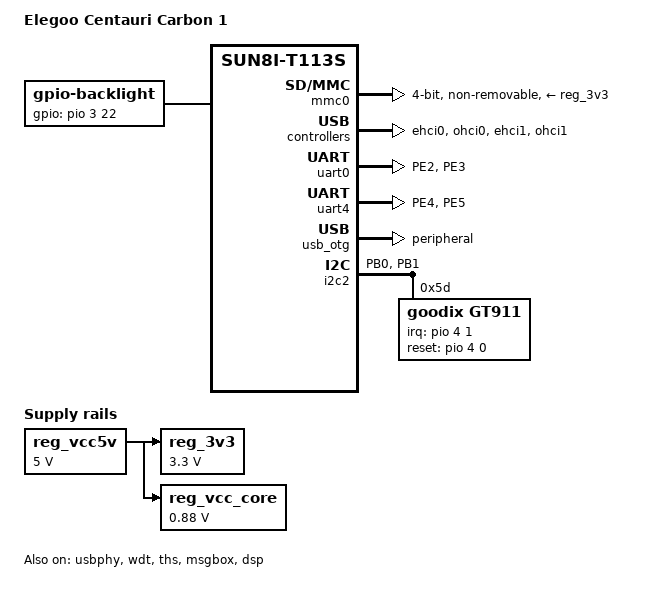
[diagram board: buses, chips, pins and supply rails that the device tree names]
// SPDX-License-Identifier: (GPL-2.0+ OR MIT)
// Copyright (C) 2026 James Turton.

/dts-v1/;

#include <dt-bindings/gpio/gpio.h>
#include <dt-bindings/interrupt-controller/irq.h>
#include "sun8i-t113s.dtsi"

/ {
	model = "Elegoo Centauri Carbon 1";
	compatible = "widora,mangopi-mq-r-t113", "allwinner,sun8i-t113s";

	aliases {
		serial0 = &uart0;
		serial4 = &uart4;
		i2c2 = &i2c2;
	};

	chosen {
		#address-cells = <1>;
		#size-cells = <1>;
		ranges;

		stdout-path = "serial0:115200n8";

		framebuffer-lcd0 {
			compatible = "allwinner,simple-framebuffer", "simple-framebuffer";
			allwinner,pipeline = "mixer0-lcd0";
			clocks = <&display_clocks CLK_BUS_MIXER0>,
					<&display_clocks CLK_MIXER0>,
					<&ccu CLK_BUS_TCON_LCD0>,
					<&ccu CLK_TCON_LCD0>;
			status = "disabled";
		};
	};

	thermal-zones {
		cpu-thermal {
			polling-delay-passive = <250>;
			polling-delay = <1000>;
			thermal-sensors = <&ths>;

			trips {
				cpu_alert: cpu-alert {
					temperature = <85000>;
					hysteresis = <2000>;
					type = "passive";
				};

				cpu_crit: cpu-crit {
					temperature = <100000>;
					hysteresis = <0>;
					type = "critical";
				};
			};
		};
	};

	/* board wide 5V supply directly from the USB-C socket */
	reg_vcc5v: regulator-5v {
		compatible = "regulator-fixed";
		regulator-name = "vcc-5v";
		regulator-min-microvolt = <5000000>;
		regulator-max-microvolt = <5000000>;
		regulator-always-on;
	};

	/* SY8008 DC/DC regulator on the board */
	reg_3v3: regulator-3v3 {
		compatible = "regulator-fixed";
		regulator-name = "vcc-3v3";
		regulator-min-microvolt = <3300000>;
		regulator-max-microvolt = <3300000>;
		vin-supply = <&reg_vcc5v>;
	};

	/* SY8008 DC/DC regulator on the board, also supplying VDD-SYS */
	reg_vcc_core: regulator-core {
		compatible = "regulator-fixed";
		regulator-name = "vcc-core";
		regulator-min-microvolt = <880000>;
		regulator-max-microvolt = <880000>;
		vin-supply = <&reg_vcc5v>;
	};

	backlight: backlight {
		compatible = "gpio-backlight";
		gpios = <&pio 3 22 GPIO_ACTIVE_HIGH>; /* PD22 */
		default-on;
	};

	reserved-memory {
		#address-cells = <1>;
		#size-cells = <1>;
		ranges;

		/*
		 * Reserve memory for the DSP firmware.
		 * Adjust base and size to match your firmware's linker script.
		 * This region must not overlap with Linux kernel memory.
		 *
		 * Common configurations:
		 *   - SRAM only (small firmware): use the DSP SRAM region
		 *   - DDR carveout (large firmware): reserve a DDR region
		 */
		dsp_reserved: dsp@42000000 {
			reg = <0x42000000 0x00100000>; /* 1 MiB example */
			no-map;
		};

		/*
		 * Shared memory for RPMsg virtio vrings and buffers.
		 * This must be accessible by both ARM and DSP.
		 */
		vdev0buffer: vdev0buffer@42100000 {
			compatible = "shared-dma-pool";
			reg = <0x42100000 0x40000>; /* 256 KiB */
			no-map;
		};

		vdev0vring0: vdev0vring0@42140000 {
			reg = <0x42140000 0x2000>; /* 8 KiB */
			no-map;
		};

		vdev0vring1: vdev0vring1@42142000 {
			reg = <0x42142000 0x2000>; /* 8 KiB */
			no-map;
		};
	};

	soc {
		ths: thermal-sensor@2009400 {
			compatible = "allwinner,sun20i-d1-ths";
			reg = <0x02009400 0x400>;
			interrupts = <SOC_PERIPHERAL_IRQ(58) IRQ_TYPE_LEVEL_HIGH>;
			clocks = <&ccu CLK_BUS_THS>;
			clock-names = "bus";
			resets = <&ccu RST_BUS_THS>;
			#thermal-sensor-cells = <0>;
			status = "okay";
		};

		msgbox: mailbox@3003000 {
			compatible = "allwinner,sunxi-r528-msgbox";
			reg = <0x03003000 0x1000>,  /* ARM CPUX_MSGBOX (local/RX) */
			      <0x01701000 0x1000>;  /* DSP_MSGBOX (remote/TX) */
			reg-names = "local", "remote";
			clocks = <&ccu CLK_BUS_MSGBOX0>;
			resets = <&ccu RST_BUS_MSGBOX0>;
			interrupts = <SOC_PERIPHERAL_IRQ(0) IRQ_TYPE_LEVEL_HIGH>;
			#mbox-cells = <1>;
			status = "okay";
		};

		dsp: dsp@1700000 {
			compatible = "allwinner,sunxi-r528-hifi4-rproc";
			reg = <0x01700000 0x100>;
			reg-names = "cfg";

			allwinner,sram = <&syscon>;

			clocks = <&ccu CLK_DSP>,
			         <&ccu CLK_BUS_DSP_CFG>;
			clock-names = "dsp", "cfg";

			resets = <&ccu RST_DSP>,
			         <&ccu RST_BUS_DSP_CFG>,
			         <&ccu RST_BUS_DSP_DBG>;
			reset-names = "dsp", "cfg", "dbg";

			/*
			 * Mailbox channels:
			 *   Channel 0 = RX from DSP (MSGBOX channels 0-3)
			 *   Channel 4 = TX to DSP   (MSGBOX channels 4-7)
			 */
			mboxes = <&msgbox 0>,  /* RX: DSP -> ARM */
			         <&msgbox 4>;  /* TX: ARM -> DSP */
			mbox-names = "rx", "tx";

			memory-region = <&dsp_reserved>,
			                <&vdev0buffer>,
			                <&vdev0vring0>,
			                <&vdev0vring1>;

			/*
			 * Firmware file loaded from /lib/firmware/.
			 * Can be overridden at runtime via:
			 *   echo my_fw.elf > /sys/class/remoteproc/remoteproc0/firmware
			 */
			firmware-name = "dsp0.elf";

			status = "okay";
		};
	};
};

&cpu0 {
	cpu-supply = <&reg_vcc_core>;
};

&cpu1 {
	cpu-supply = <&reg_vcc_core>;
};

&dcxo {
	clock-frequency = <24000000>;
};

&mmc0 {
	pinctrl-0 = <&mmc0_pins>;
	pinctrl-names = "default";
	vmmc-supply = <&reg_3v3>;
	/delete-property/ cap-sd-highspeed;
	/delete-property/ no-mmc;
	mmc-ddr-3_3v;
	cap-mmc-highspeed;
	non-removable;
	bus-width = <4>;
	status = "okay";
};

&ehci0 {
	status = "okay";
};

&ohci0 {
	status = "okay";
};

&ehci1 {
	status = "okay";
};

&ohci1 {
	status = "okay";
};

&pio {
	vcc-pb-supply = <&reg_3v3>;
	vcc-pd-supply = <&reg_3v3>;
	vcc-pe-supply = <&reg_3v3>;
	vcc-pf-supply = <&reg_3v3>;
	vcc-pg-supply = <&reg_3v3>;

	uart0_pe_pins: uart0-pe-pins {
		pins = "PE2", "PE3";
		function = "uart0";
	};

	uart4_pe_pins: uart4-pe-pins {
		pins = "PE4", "PE5";
		function = "uart4";
	};

	// pwm7_pd22_pin: pwm7-pd22-pin {
	// 	pins = "PD22";
	// 	function = "pwm7";
	// };

	i2c2_pins: i2c2-pins {
		pins = "PB0", "PB1";
		function = "i2c2";
	};
};

&uart0 {
	pinctrl-names = "default";
	pinctrl-0 = <&uart0_pe_pins>;
	status = "okay";
};

&uart4 {
	pinctrl-names = "default";
	pinctrl-0 = <&uart4_pe_pins>;
	status = "okay";
};

/* The USB-C socket has its CC pins pulled to GND, so is hardwired as a UFP. */
&usb_otg {
	dr_mode = "peripheral";
	status = "okay";
};

&usbphy {
	usb1_vbus-supply = <&reg_vcc5v>;
	status = "okay";
};


// &pwm {
// 	pinctrl-names = "default";
// 	pinctrl-0 = <&pwm7_pd22_pin>;
// 	status = "okay";
// };

&de {
	status = "disabled";
};

&mixer0 {
	status = "disabled";
};

&tcon_lcd0 {
	status = "disabled";
};

&syscon {
	compatible = "allwinner,sun20i-d1-system-control",
		"syscon";
};

&i2c2 {
	status = "okay";
	pinctrl-names = "default";
	pinctrl-0 = <&i2c2_pins>;

	goodix: touchscreen@5d {
		compatible = "goodix,gt911";
		reg = <0x5d>;
		interrupt-parent = <&pio>;
		interrupts = <4 1 IRQ_TYPE_EDGE_FALLING>; /* EINT21 (PE1) */
		irq-gpios = <&pio 4 1 GPIO_ACTIVE_HIGH>; /* INT (PE1) */
		reset-gpios = <&pio 4 0 GPIO_ACTIVE_HIGH>; /* RST (PE0) */
	};
};

&wdt {
	status = "okay";
};
